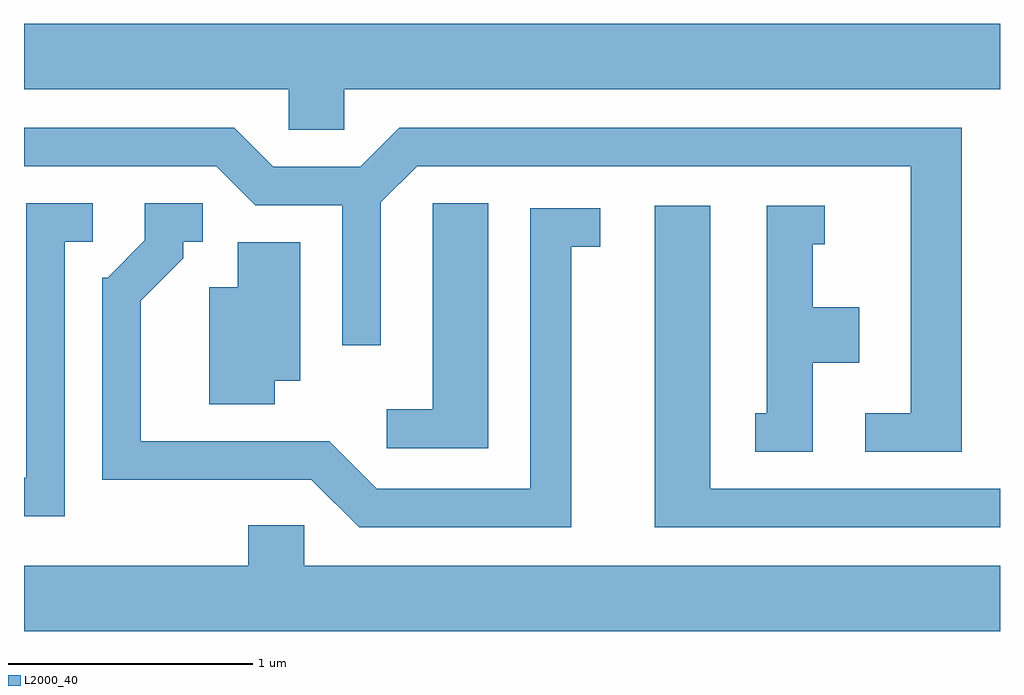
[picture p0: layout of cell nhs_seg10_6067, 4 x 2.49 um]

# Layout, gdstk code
import gdstk
lib = gdstk.Library(unit=1e-6, precision=1e-09)
def P(c, l, *ps):  # polygons
    for p in ps: c.add(gdstk.Polygon(p, *l))
L2000_40 = (2000, 40)

nhs_seg10_6067 = lib.new_cell('nhs_seg10_6067')
P(nhs_seg10_6067, L2000_40, [(364.924,2191.616),(367.611,2191.616),(367.611,2191.884),(363.611,2191.884),(363.611,2191.616),(364.696,2191.616),(364.696,2191.451),(364.924,2191.451)],
  [(367.454,2191.459),(365.149,2191.459),(364.989,2191.299),(364.632,2191.299),(364.472,2191.459),(363.611,2191.459),(363.611,2191.301),(364.399,2191.301),(364.559,2191.141),(364.916,2191.141),(364.916,2190.568),(365.074,2190.568),(365.074,2191.154),(365.222,2191.301),(367.246,2191.301),(367.246,2190.289),(367.058,2190.289),(367.058,2190.131),(367.454,2190.131)],
  [(365.514,2191.149),(365.286,2191.149),(365.286,2190.304),(365.098,2190.304),(365.098,2190.146),(365.514,2190.146)],
  [(365.854,2190.971),(365.973,2190.971),(365.973,2191.129),(365.686,2191.129),(365.686,2189.979),(365.057,2189.979),(364.862,2190.174),(364.089,2190.174),(364.089,2190.749),(364.264,2190.924),(364.264,2190.991),(364.343,2190.991),(364.343,2191.149),(364.106,2191.149),(364.106,2190.997),(363.954,2190.844),(363.931,2190.844),(363.931,2190.016),(364.789,2190.016),(364.984,2189.821),(365.854,2189.821)],
  [(363.779,2190.991),(363.893,2190.991),(363.893,2191.149),(363.621,2191.149),(363.621,2190.024),(363.611,2190.024),(363.611,2189.866),(363.779,2189.866)],
  [(367.611,2189.979),(366.424,2189.979),(366.424,2191.139),(366.196,2191.139),(366.196,2189.821),(367.611,2189.821)],
  [(366.844,2190.496),(367.034,2190.496),(367.034,2190.724),(366.844,2190.724),(366.844,2190.981),(366.893,2190.981),(366.893,2191.139),(366.656,2191.139),(366.656,2190.289),(366.608,2190.289),(366.608,2190.131),(366.844,2190.131)],
  [(364.639,2190.421),(364.744,2190.421),(364.744,2190.989),(364.486,2190.989),(364.486,2190.804),(364.371,2190.804),(364.371,2190.326),(364.639,2190.326)],
  [(367.611,2189.664),(364.759,2189.664),(364.759,2189.829),(364.531,2189.829),(364.531,2189.664),(363.611,2189.664),(363.611,2189.396),(367.611,2189.396)])

lib.write_gds('nhs_seg10_6067.gds')
